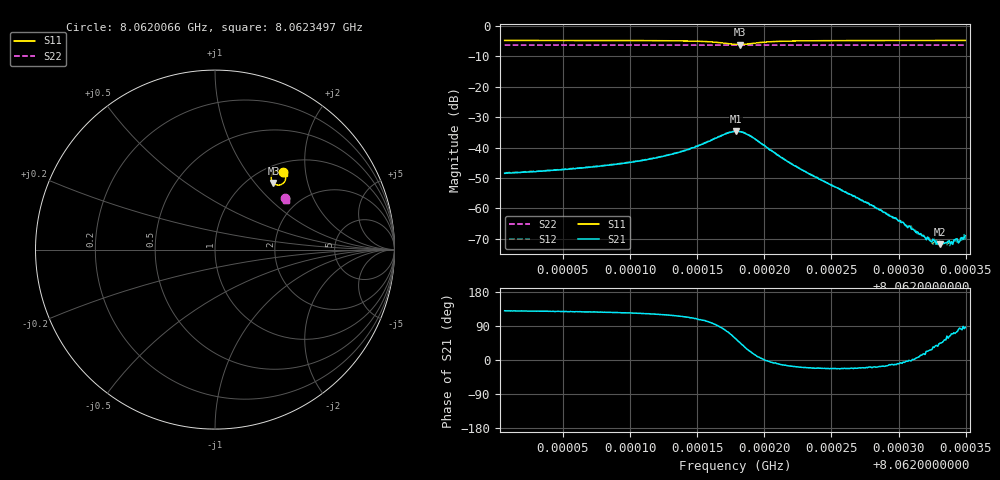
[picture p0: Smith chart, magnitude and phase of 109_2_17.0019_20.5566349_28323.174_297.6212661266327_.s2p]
#  HZ  S  RI  R  50.00
! Rohde & Schwarz Vector Network Analyzer
! Rohde-Schwarz,ZNB20-2Port,1311601062101988,3.16
! Created: UTC 3/20/2024, 10:56:57 PM
! freq[Hz]  re:S11  im:S11  re:S21  im:S21  re:S12  im:S12  re:S22  im:S22
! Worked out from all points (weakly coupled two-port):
!   401 points, 8.0620066 GHz to 8.0623497 GHz, reference 50 ohm
!   highest |S21| = -34.65 dB at 8.062179 GHz (marker M1); lowest = -71.8 dB at 8.0623308 GHz (marker M2)
!   lowest |S11| = -6.1 dB at 8.0621816 GHz (marker M3), VSWR 2.95, Z = 63.9 + j62.6 ohm
!   |S11| at or under -10 dB: nowhere
!   |S22| runs from -6.4 to -6.3 dB; largest |S21 - S12| = 0.0014
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8.06200656e9  0.377 0.4349  -0.00242 0.00289  -0.00225 0.00307  0.3875 0.2898
8.06206404e9  0.3826 0.429  -0.00278 0.00369  -0.0026 0.00386  0.3895 0.287
8.06209149e9  0.3859 0.4248  -0.0031 0.00439  -0.00285 0.00464  0.3904 0.2854
8.06212151e9  0.3905 0.4165  -0.00352 0.006  -0.00319 0.00625  0.3914 0.2837
8.06214296e9  0.3937 0.4039  -0.00363 0.00848  -0.00309 0.00883  0.3921 0.2821
8.06216441e9  0.3848 0.3743  -0.000464 0.0144  0.000381 0.0147  0.3918 0.2799
8.06217814e9  0.3395 0.3619  0.00966 0.0156  0.0109 0.0149  0.3901 0.2794
8.06217899e9  0.3357 0.3635  0.0106 0.0152  0.0117 0.0145  0.3901 0.2797
8.06218157e9  0.3256 0.3706  0.0125 0.0133  0.0136 0.0124  0.3898 0.2799
8.06219015e9  0.3133 0.4052  0.0142 0.00532  0.0148 0.00434  0.39 0.2812
8.0622013e9  0.3287 0.432  0.0102 -0.000328  0.0102 -0.000721  0.3914 0.2816
8.06221846e9  0.3501 0.4403  0.00549 -0.00154  0.00541 -0.00187  0.3931 0.2808
8.06223562e9  0.3615 0.4396  0.00324 -0.00127  0.00323 -0.00142  0.394 0.28
8.06229309e9  0.3766 0.4339  0.000739 -0.000156  0.000747 -0.000218  0.3964 0.2767
8.06230939e9  0.3788 0.4324  0.000458 -1.89e-05  0.000509 -5.04e-05  0.3971 0.2757
8.06231883e9  0.38 0.4316  0.000333 9.81e-05  0.000345 0.000105  0.3973 0.2754
8.06232569e9  0.3807 0.4311  0.00026 0.000179  0.000246 8.12e-05  0.3975 0.275
8.06233084e9  0.3814 0.4307  0.000183 0.000179  0.00021 0.000209  0.3978 0.2746
8.06233685e9  0.382 0.4302  0.000155 0.000244  0.000197 0.000203  0.398 0.2744
8.06234114e9  0.3825 0.43  9.33e-05 0.000288  8.44e-05 0.00027  0.398 0.2741
8.06234628e9  0.383 0.4296  4.43e-05 0.000312  0.000101 0.000314  0.3982 0.274
8.06234972e9  0.3834 0.4293  2.31e-05 0.000355  7.65e-06 0.000303  0.3983 0.2738
